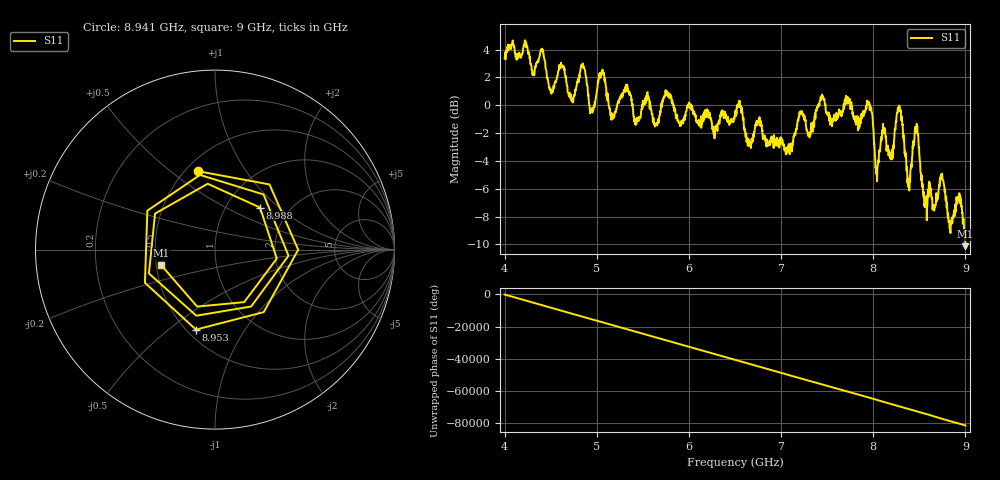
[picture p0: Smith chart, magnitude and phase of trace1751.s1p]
! Created with skrf 1.8.0 (http://scikit-rf.org).
# Hz S RI R 50.0
!freq ReS11 ImS11
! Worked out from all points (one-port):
!   1601 points, 4 GHz to 9 GHz, reference 50 ohm
!   lowest |S11| = -10.1 dB at 9 GHz (marker M1), VSWR 1.91, Z = 26.6 - j5.13 ohm
!   |S11| at or under -10 dB: 8.999344 GHz to end of sweep
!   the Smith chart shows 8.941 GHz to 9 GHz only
!   S11 on the Smith chart (normalised r, x): 8.941 GHz: 0.58, +0.63; 8.953 GHz: 0.56, -0.63; 8.988 GHz: 1.43, +0.76; 9 GHz: 0.53, -0.10
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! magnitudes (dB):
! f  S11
! 4 GHz  3.4
! 4.406 GHz  4.0
! 4.509 GHz  0.8
! 4.625 GHz  2.8
! 4.734 GHz  0.3
! 4.853 GHz  2.9
! 4.941 GHz  -0.4
! 5.053 GHz  2.4
! 5.162 GHz  -0.6
! 5.25 GHz  0.4
! 5.875 GHz  -1.1
! 6.5 GHz  -0.7
! 7.125 GHz  -2.9
! 7.444 GHz  0.8
! 7.75 GHz  0.2
! 7.966 GHz  0.0
! 8.041 GHz  -5.5
! 8.109 GHz  -1.9
! 8.2 GHz  -3.6
! 8.288 GHz  -0.1
! 8.375 GHz  -5.3
! 8.466 GHz  -1.8
! 8.562 GHz  -7.3
! 8.741 GHz  -5.2
! 8.941 GHz  -7.0
! 8.953 GHz  -6.8
! 8.988 GHz  -9.3
! 9 GHz  -10.1
